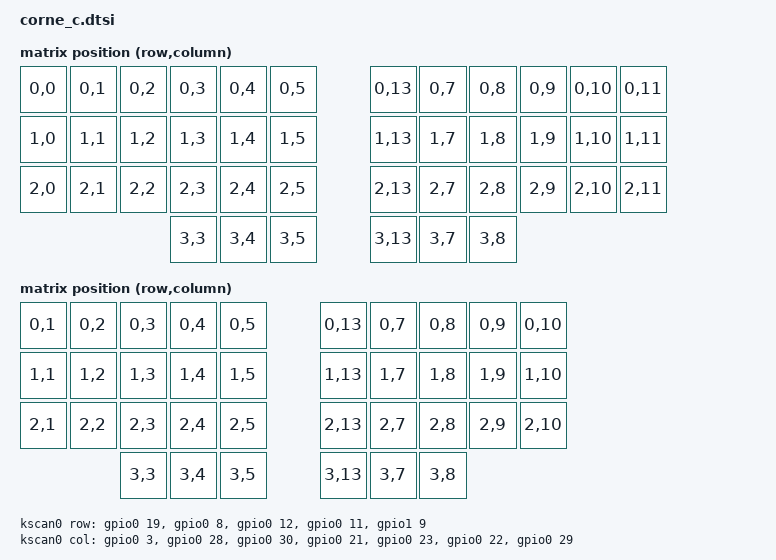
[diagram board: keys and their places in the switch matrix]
/*
 * Copyright (c) 2020 Pete Johanson
 * SPDX-License-Identifier: MIT
 */

#include <dt-bindings/zmk/matrix_transform.h>
#include <layouts/foostan/corne/5column.dtsi>
#include <layouts/foostan/corne/6column.dtsi>

&foostan_corne_6col_layout {
    transform = <&default_transform>;
};

&foostan_corne_5col_layout {
    transform = <&five_column_transform>;
};

/ {
    chosen {
        zephyr,display = &nice_view;  /* 👈 指定使用 nice_view 屏幕 */
        zmk,kscan = &kscan0;
        zmk,physical-layout = &foostan_corne_6col_layout;
    };

    /* 👇 核心命脉：恢复屏幕供电！没有它屏幕就没电！ */
    EXT_POWER {
        compatible = "zmk,ext-power-generic";
        control-gpios = <&gpio0 13 GPIO_ACTIVE_HIGH>;
        init-delay-ms = <50>;
    };

    /* 恢复电量检测 */
    vbatt: vbatt {
        compatible = "zmk,battery-nrf-vddh";
    };

    default_transform: keymap_transform_0 {
        compatible = "zmk,matrix-transform";
        columns = <14>;
        rows = <4>;
        map = <
RC(0,0) RC(0,1) RC(0,2) RC(0,3) RC(0,4) RC(0,5)  RC(0,13) RC(0,7) RC(0,8) RC(0,9) RC(0,10) RC(0,11)
RC(1,0) RC(1,1) RC(1,2) RC(1,3) RC(1,4) RC(1,5)  RC(1,13) RC(1,7) RC(1,8) RC(1,9) RC(1,10) RC(1,11)
RC(2,0) RC(2,1) RC(2,2) RC(2,3) RC(2,4) RC(2,5)  RC(2,13) RC(2,7) RC(2,8) RC(2,9) RC(2,10) RC(2,11)
                        RC(3,3) RC(3,4) RC(3,5)  RC(3,13) RC(3,7) RC(3,8)
        >;
    };

    five_column_transform: keymap_transform_1 {
        compatible = "zmk,matrix-transform";
        columns = <14>;
        rows = <4>;
        map = <
RC(0,1) RC(0,2) RC(0,3) RC(0,4) RC(0,5)  RC(0,13) RC(0,7) RC(0,8) RC(0,9) RC(0,10)
RC(1,1) RC(1,2) RC(1,3) RC(1,4) RC(1,5)  RC(1,13) RC(1,7) RC(1,8) RC(1,9) RC(1,10)
RC(2,1) RC(2,2) RC(2,3) RC(2,4) RC(2,5)  RC(2,13) RC(2,7) RC(2,8) RC(2,9) RC(2,10)
                        RC(3,3) RC(3,4) RC(3,5)  RC(3,13) RC(3,7) RC(3,8)
        >;
    };

    /* 我们辛苦排查出来的完美打字引脚 */
    kscan0: kscan {
        compatible = "zmk,kscan-gpio-matrix";
        wakeup-source;
        diode-direction = "col2row";
        
        row-gpios
            = <&gpio0 19 (GPIO_ACTIVE_HIGH | GPIO_PULL_DOWN)>
            , <&gpio0 8 (GPIO_ACTIVE_HIGH | GPIO_PULL_DOWN)>
            , <&gpio0 12 (GPIO_ACTIVE_HIGH | GPIO_PULL_DOWN)>
            , <&gpio0 11 (GPIO_ACTIVE_HIGH | GPIO_PULL_DOWN)>
            , <&gpio1 9 (GPIO_ACTIVE_HIGH | GPIO_PULL_DOWN)>
            ;
            
        col-gpios
            = <&gpio0 3 GPIO_ACTIVE_HIGH>
            , <&gpio0 28 GPIO_ACTIVE_HIGH>
            , <&gpio0 30 GPIO_ACTIVE_HIGH>
            , <&gpio0 21 GPIO_ACTIVE_HIGH>
            , <&gpio0 23 GPIO_ACTIVE_HIGH>
            , <&gpio0 22 GPIO_ACTIVE_HIGH>
            , <&gpio0 29 GPIO_ACTIVE_HIGH>
            ;
    };
};

/* 👇 恢复原版硬件特有的定制 SPI 引脚！ */
&pinctrl {
    spi0_default: spi0_default {
        group1 {
            psels = <NRF_PSEL(SPIM_SCK, 0, 20)>,
                <NRF_PSEL(SPIM_MOSI, 0, 17)>,
                <NRF_PSEL(SPIM_MISO, 0, 25)>;
        };
    };
    spi0_sleep: spi0_sleep {
        group1 {
            psels = <NRF_PSEL(SPIM_SCK, 0, 20)>,
                <NRF_PSEL(SPIM_MOSI, 0, 17)>,
                <NRF_PSEL(SPIM_MISO, 0, 25)>;
            low-power-enable;
        };
    };
};

/* 👇 手动挂载 nice_view 屏幕（不再依赖 adapter） */
nice_view_spi: &spi0 {
    compatible = "nordic,nrf-spim";
    pinctrl-0 = <&spi0_default>;
    pinctrl-1 = <&spi0_sleep>;
    pinctrl-names = "default", "sleep";
    cs-gpios = <&gpio0 6 GPIO_ACTIVE_HIGH>;
    status = "okay";

    nice_view: ls0xx@0 {
        compatible = "sharp,ls0xx";
        spi-max-frequency = <1000000>;
        reg = <0>;
        width = <160>;
        height = <68>;
    };
};
